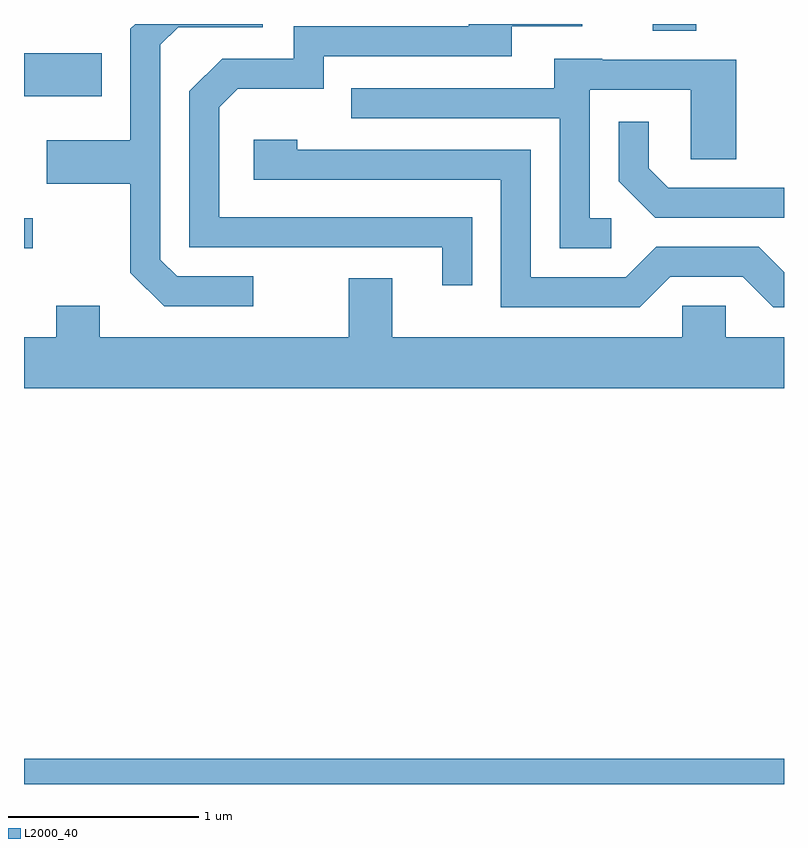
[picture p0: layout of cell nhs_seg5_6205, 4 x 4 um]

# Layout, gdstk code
import gdstk
lib = gdstk.Library(unit=1e-6, precision=1e-09)
def R(c, l, rs):  # rectangles x0, y0, x1, y1
    for r in rs: c.add(gdstk.rectangle(r[:2], r[2:], *l))
def P(c, l, *ps):  # polygons
    for p in ps: c.add(gdstk.Polygon(p, *l))
L2000_40 = (2000, 40)

nhs_seg5_6205 = lib.new_cell('nhs_seg5_6205')
R(nhs_seg5_6205, L2000_40, [(369.611,1428.072,373.611,1428.204), (369.611,1430.891,369.658,1431.049), (369.611,1431.691,370.019,1431.919), (372.921,1432.036,373.149,1432.072)])
P(nhs_seg5_6205, L2000_40, [(370.818,1430.744),(370.417,1430.744),(370.329,1430.832),(370.329,1431.964),(370.422,1432.056),(370.868,1432.056),(370.868,1432.072),(370.196,1432.072),(370.171,1432.047),(370.171,1431.459),(369.731,1431.459),(369.731,1431.231),(370.171,1431.231),(370.171,1430.764),(370.349,1430.586),(370.818,1430.586)],
  [(371.969,1431.054),(370.639,1431.054),(370.639,1431.634),(370.737,1431.731),(371.189,1431.731),(371.189,1431.901),(372.179,1431.901),(372.179,1432.061),(372.548,1432.061),(372.548,1432.072),(371.951,1432.072),(371.951,1432.059),(371.031,1432.059),(371.031,1431.889),(370.654,1431.889),(370.481,1431.717),(370.481,1430.896),(371.811,1430.896),(371.811,1430.698),(371.969,1430.698)],
  [(372.703,1431.049),(372.589,1431.049),(372.589,1431.726),(373.121,1431.726),(373.121,1431.361),(373.359,1431.361),(373.359,1431.884),(372.655,1431.884),(372.655,1431.889),(372.401,1431.889),(372.401,1431.734),(371.333,1431.734),(371.333,1431.576),(372.431,1431.576),(372.431,1430.891),(372.703,1430.891)],
  [(373.611,1431.209),(373.002,1431.209),(372.899,1431.312),(372.899,1431.558),(372.741,1431.558),(372.741,1431.244),(372.934,1431.051),(373.611,1431.051)],
  [(373.012,1430.741),(373.394,1430.741),(373.554,1430.581),(373.611,1430.581),(373.611,1430.765),(373.477,1430.899),(372.939,1430.899),(372.779,1430.739),(372.279,1430.739),(372.279,1431.409),(371.049,1431.409),(371.049,1431.464),(370.821,1431.464),(370.821,1431.251),(372.121,1431.251),(372.121,1430.581),(372.852,1430.581)],
  [(373.611,1430.424),(373.304,1430.424),(373.304,1430.589),(373.076,1430.589),(373.076,1430.424),(371.549,1430.424),(371.549,1430.734),(371.321,1430.734),(371.321,1430.424),(370.009,1430.424),(370.009,1430.589),(369.781,1430.589),(369.781,1430.424),(369.611,1430.424),(369.611,1430.156),(373.611,1430.156)])

lib.write_gds('nhs_seg5_6205.gds')
